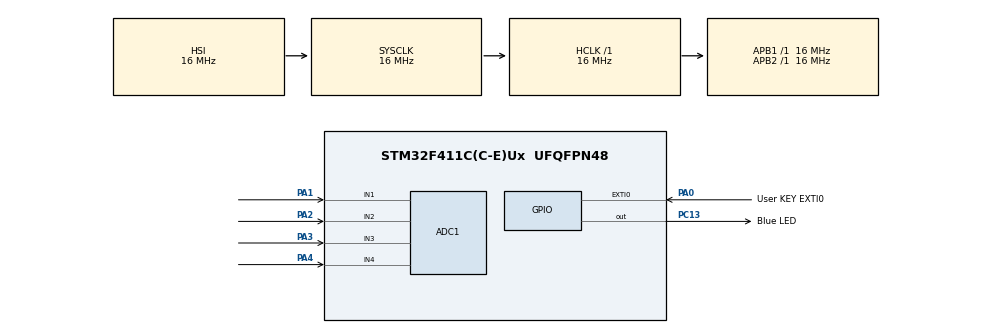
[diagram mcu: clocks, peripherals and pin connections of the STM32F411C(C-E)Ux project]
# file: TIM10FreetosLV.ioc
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ADC1.Channel-0\#ChannelRegularConversion=ADC_CHANNEL_1
ADC1.Channel-1\#ChannelRegularConversion=ADC_CHANNEL_2
ADC1.Channel-2\#ChannelRegularConversion=ADC_CHANNEL_3
ADC1.Channel-3\#ChannelRegularConversion=ADC_CHANNEL_4
ADC1.NbrOfConversion=4
ADC1.NbrOfConversionFlag=1
ADC1.Rank-0\#ChannelRegularConversion=1
ADC1.Rank-1\#ChannelRegularConversion=2
ADC1.Rank-2\#ChannelRegularConversion=3
ADC1.Rank-3\#ChannelRegularConversion=4
ADC1.SamplingTime-0\#ChannelRegularConversion=ADC_SAMPLETIME_3CYCLES
ADC1.SamplingTime-1\#ChannelRegularConversion=ADC_SAMPLETIME_3CYCLES
ADC1.SamplingTime-2\#ChannelRegularConversion=ADC_SAMPLETIME_3CYCLES
ADC1.SamplingTime-3\#ChannelRegularConversion=ADC_SAMPLETIME_3CYCLES
ADC1.ScanConvMode=ENABLE
ADC1.master=1
Dma.ADC1.0.Direction=DMA_PERIPH_TO_MEMORY
Dma.ADC1.0.FIFOMode=DMA_FIFOMODE_DISABLE
Dma.ADC1.0.Instance=DMA2_Stream0
Dma.ADC1.0.MemDataAlignment=DMA_MDATAALIGN_WORD
Dma.ADC1.0.MemInc=DMA_MINC_ENABLE
Dma.ADC1.0.Mode=DMA_CIRCULAR
Dma.ADC1.0.PeriphDataAlignment=DMA_PDATAALIGN_WORD
Dma.ADC1.0.PeriphInc=DMA_PINC_DISABLE
Dma.ADC1.0.Priority=DMA_PRIORITY_LOW
Dma.Request0=ADC1
FREERTOS.Mutexes01=SensorAMutex,Dynamic,NULL,Available;SensorBMutex,Dynamic,NULL,Available
FREERTOS.Tasks01=LEDTask,24,128,StartLEDTask,Default,NULL,Dynamic,NULL,NULL;AN1Task,24,128,StartAN1Task,Default,NULL,Dynamic,NULL,NULL;AN2Task,24,128,StartAN2Task,Default,NULL,Dynamic,NULL,NULL;AN3Task,24,128,StartAN3Task,Default,NULL,Dynamic,NULL,NULL;AN4Task,24,128,StartAN4Task,Default,NULL,Dynamic,NULL,NULL
Mcu.Family=STM32F4
Mcu.Name=STM32F411C(C-E)Ux
Mcu.Package=UFQFPN48
NVIC.ADC_IRQn=true\:5\:0\:false\:false\:true\:true\:true\:true\:true
NVIC.DMA2_Stream0_IRQn=true\:5\:0\:false\:false\:true\:true\:false\:true\:true
NVIC.EXTI0_IRQn=true\:5\:0\:false\:false\:true\:true\:true\:true\:true
NVIC.PriorityGroup=NVIC_PRIORITYGROUP_4
NVIC.TIM1_UP_TIM10_IRQn=true\:15\:0\:false\:false\:true\:false\:false\:true\:true
NVIC.TIM2_IRQn=true\:5\:0\:false\:false\:true\:true\:true\:true\:true
NVIC.TimeBase=TIM1_UP_TIM10_IRQn
NVIC.TimeBaseIP=TIM10
PA0-WKUP.GPIO_Label=User KEY EXTI0
PA0-WKUP.GPIO_ModeDefaultEXTI=GPIO_MODE_IT_FALLING
PA0-WKUP.GPIO_PuPd=GPIO_PULLUP
PA0-WKUP.Signal=GPXTI0
PA1.Signal=ADCx_IN1
PA13.Mode=Serial_Wire
PA13.Signal=SYS_JTMS-SWDIO
PA14.Mode=Serial_Wire
PA14.Signal=SYS_JTCK-SWCLK
PA2.Signal=ADCx_IN2
PA3.Signal=ADCx_IN3
PA4.Signal=ADCx_IN4
PC13-ANTI_TAMP.GPIO_Label=Blue LED
PC13-ANTI_TAMP.GPIO_ModeDefaultOutputPP=GPIO_MODE_OUTPUT_OD
PC13-ANTI_TAMP.GPIO_PuPd=GPIO_NOPULL
PC13-ANTI_TAMP.PinState=GPIO_PIN_SET
PC13-ANTI_TAMP.Signal=GPIO_Output
PH0\ -\ OSC_IN.Mode=HSE-External-Oscillator
PH0\ -\ OSC_IN.Signal=RCC_OSC_IN
PH1\ -\ OSC_OUT.Mode=HSE-External-Oscillator
PH1\ -\ OSC_OUT.Signal=RCC_OSC_OUT
ProjectManager.HeapSize=0x200
ProjectManager.StackSize=0x400
ProjectManager.TargetToolchain=CMake
RCC.AHBFreq_Value=16000000
RCC.APB1Freq_Value=16000000
RCC.APB2Freq_Value=16000000
RCC.CortexFreq_Value=16000000
RCC.HSE_VALUE=25000000
RCC.HSI_VALUE=16000000
RCC.LSE_VALUE=32768
RCC.SYSCLKFreq_VALUE=16000000
RCC.VCOOutputFreq_Value=192000000
SH.ADCx_IN1.0=ADC1_IN1,IN1
SH.ADCx_IN2.0=ADC1_IN2,IN2
SH.ADCx_IN3.0=ADC1_IN3,IN3
SH.ADCx_IN4.0=ADC1_IN4,IN4
TIM2.AutoReloadPreload=TIM_AUTORELOAD_PRELOAD_ENABLE
TIM2.Period=16000-1
VP_FREERTOS_VS_CMSIS_V2.Mode=CMSIS_V2
VP_SYS_VS_tim10.Mode=TIM10
VP_TIM2_VS_ClockSourceINT.Mode=Internal
board=custom

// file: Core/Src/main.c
/* USER CODE BEGIN Header */
/**
 ******************************************************************************
 * @file           : main.c
 * @brief          : Main program body
 ******************************************************************************
 * @attention
 *
 * Copyright (c) 2024 STMicroelectronics.
 * All rights reserved.
 *
 * This software is licensed under terms that can be found in the LICENSE file
 * in the root directory of this software component.
 * If no LICENSE file comes with this software, it is provided AS-IS.
 *
 ******************************************************************************
 */
/* USER CODE END Header */
#include "main.h"
#include "cmsis_os.h"

ADC_HandleTypeDef hadc1;
DMA_HandleTypeDef hdma_adc1;

TIM_HandleTypeDef htim2;

/* Definitions for LEDTask */
osThreadId_t LEDTaskHandle;
const osThreadAttr_t LEDTask_attributes = {
    .name = "LEDTask",
    .stack_size = 128 * 4,
    .priority = (osPriority_t)osPriorityNormal,
};
/* Definitions for AN1Task */
osThreadId_t AN1TaskHandle;
const osThreadAttr_t AN1Task_attributes = {
    .name = "AN1Task",
    .stack_size = 128 * 4,
    .priority = (osPriority_t)osPriorityNormal,
};
/* Definitions for AN2Task */
osThreadId_t AN2TaskHandle;
const osThreadAttr_t AN2Task_attributes = {
    .name = "AN2Task",
    .stack_size = 128 * 4,
    .priority = (osPriority_t)osPriorityNormal,
};
/* Definitions for AN3Task */
osThreadId_t AN3TaskHandle;
const osThreadAttr_t AN3Task_attributes = {
    .name = "AN3Task",
    .stack_size = 128 * 4,
    .priority = (osPriority_t)osPriorityNormal,
};
/* Definitions for AN4Task */
osThreadId_t AN4TaskHandle;
const osThreadAttr_t AN4Task_attributes = {
    .name = "AN4Task",
    .stack_size = 128 * 4,
    .priority = (osPriority_t)osPriorityNormal,
};
/* Definitions for SensorAMutex */
osMutexId_t SensorAMutexHandle;
const osMutexAttr_t SensorAMutex_attributes = {
    .name = "SensorAMutex"};
/* Definitions for SensorBMutex */
osMutexId_t SensorBMutexHandle;
const osMutexAttr_t SensorBMutex_attributes = {
    .name = "SensorBMutex"};
/* USER CODE BEGIN PV */
uint8_t BLUELED = 0;
uint32_t AD_RES_BUFFER[4];
uint16_t ADC1IN1, ADC1IN2;
uint16_t ADC1IN3, ADC1IN4;
int16_t DiffA, DiffB;
float voltage1, voltage2;
float voltage3, voltage4;
uint32_t sensorA, sensorB;
/* USER CODE END PV */

void SystemClock_Config(void);
static void MX_GPIO_Init(void);
static void MX_DMA_Init(void);
static void MX_ADC1_Init(void);
static void MX_TIM2_Init(void);
void StartLEDTask(void *argument);
void StartAN1Task(void *argument);
void StartAN2Task(void *argument);
void StartAN3Task(void *argument);
void StartAN4Task(void *argument);

int main(void)
{

  /* MCU Configuration--------------------------------------------------------*/

  /* Reset of all peripherals, Initializes the Flash interface and the Systick. */
  HAL_Init();

  /* Configure the system clock */
  SystemClock_Config();

  /* Initialize all configured peripherals */
  MX_GPIO_Init();
  MX_DMA_Init();
  MX_ADC1_Init();
  MX_TIM2_Init();
  /* USER CODE BEGIN 2 */
  HAL_TIM_Base_Start_IT(&htim2);
  /* USER CODE END 2 */

  /* Init scheduler */
  osKernelInitialize();
  /* Create the mutex(es) */
  /* creation of SensorAMutex */
  SensorAMutexHandle = osMutexNew(&SensorAMutex_attributes);

  /* creation of SensorBMutex */
  SensorBMutexHandle = osMutexNew(&SensorBMutex_attributes);

  /* Create the thread(s) */
  /* creation of LEDTask */
  LEDTaskHandle = osThreadNew(StartLEDTask, NULL, &LEDTask_attributes);

  /* creation of AN1Task */
  AN1TaskHandle = osThreadNew(StartAN1Task, NULL, &AN1Task_attributes);

  /* creation of AN2Task */
  AN2TaskHandle = osThreadNew(StartAN2Task, NULL, &AN2Task_attributes);

  /* creation of AN3Task */
  AN3TaskHandle = osThreadNew(StartAN3Task, NULL, &AN3Task_attributes);

  /* creation of AN4Task */
  AN4TaskHandle = osThreadNew(StartAN4Task, NULL, &AN4Task_attributes);

  /* Start scheduler */
  osKernelStart();

  /* We should never get here as control is now taken by the scheduler */

  /* Infinite loop */
  while (1)
  {

  }
}

void SystemClock_Config(void)
{
  RCC_OscInitTypeDef RCC_OscInitStruct = {0};
  RCC_ClkInitTypeDef RCC_ClkInitStruct = {0};

  /** Configure the main internal regulator output voltage
   */
  __HAL_RCC_PWR_CLK_ENABLE();
  __HAL_PWR_VOLTAGESCALING_CONFIG(PWR_REGULATOR_VOLTAGE_SCALE1);

  /** Initializes the RCC Oscillators according to the specified parameters
   * in the RCC_OscInitTypeDef structure.
   */
  RCC_OscInitStruct.OscillatorType = RCC_OSCILLATORTYPE_HSI;
  RCC_OscInitStruct.HSIState = RCC_HSI_ON;
  RCC_OscInitStruct.HSICalibrationValue = RCC_HSICALIBRATION_DEFAULT;
  RCC_OscInitStruct.PLL.PLLState = RCC_PLL_NONE;
  if (HAL_RCC_OscConfig(&RCC_OscInitStruct) != HAL_OK)
  {
    Error_Handler();
  }

  /** Initializes the CPU, AHB and APB buses clocks
   */
  RCC_ClkInitStruct.ClockType = RCC_CLOCKTYPE_HCLK | RCC_CLOCKTYPE_SYSCLK | RCC_CLOCKTYPE_PCLK1 | RCC_CLOCKTYPE_PCLK2;
  RCC_ClkInitStruct.SYSCLKSource = RCC_SYSCLKSOURCE_HSI;
  RCC_ClkInitStruct.AHBCLKDivider = RCC_SYSCLK_DIV1;
  RCC_ClkInitStruct.APB1CLKDivider = RCC_HCLK_DIV1;
  RCC_ClkInitStruct.APB2CLKDivider = RCC_HCLK_DIV1;

  if (HAL_RCC_ClockConfig(&RCC_ClkInitStruct, FLASH_LATENCY_0) != HAL_OK)
  {
    Error_Handler();
  }
}

static void MX_ADC1_Init(void)
{

  ADC_ChannelConfTypeDef sConfig = {0};

  /** Configure the global features of the ADC (Clock, Resolution, Data Alignment and number of conversion)
   */
  hadc1.Instance = ADC1;
  hadc1.Init.ClockPrescaler = ADC_CLOCK_SYNC_PCLK_DIV2;
  hadc1.Init.Resolution = ADC_RESOLUTION_12B;
  hadc1.Init.ScanConvMode = ENABLE;
  hadc1.Init.ContinuousConvMode = DISABLE;
  hadc1.Init.DiscontinuousConvMode = DISABLE;
  hadc1.Init.ExternalTrigConvEdge = ADC_EXTERNALTRIGCONVEDGE_NONE;
  hadc1.Init.ExternalTrigConv = ADC_SOFTWARE_START;
  hadc1.Init.DataAlign = ADC_DATAALIGN_RIGHT;
  hadc1.Init.NbrOfConversion = 4;
  hadc1.Init.DMAContinuousRequests = DISABLE;
  hadc1.Init.EOCSelection = ADC_EOC_SINGLE_CONV;
  if (HAL_ADC_Init(&hadc1) != HAL_OK)
  {
    Error_Handler();
  }

  /** Configure for the selected ADC regular channel its corresponding rank in the sequencer and its sample time.
   */
  sConfig.Channel = ADC_CHANNEL_1;
  sConfig.Rank = 1;
  sConfig.SamplingTime = ADC_SAMPLETIME_3CYCLES;
  if (HAL_ADC_ConfigChannel(&hadc1, &sConfig) != HAL_OK)
  {
    Error_Handler();
  }

  /** Configure for the selected ADC regular channel its corresponding rank in the sequencer and its sample time.
   */
  sConfig.Channel = ADC_CHANNEL_2;
  sConfig.Rank = 2;
  if (HAL_ADC_ConfigChannel(&hadc1, &sConfig) != HAL_OK)
  {
    Error_Handler();
  }

  /** Configure for the selected ADC regular channel its corresponding rank in the sequencer and its sample time.
   */
  sConfig.Channel = ADC_CHANNEL_3;
  sConfig.Rank = 3;
  if (HAL_ADC_ConfigChannel(&hadc1, &sConfig) != HAL_OK)
  {
    Error_Handler();
  }

  /** Configure for the selected ADC regular channel its corresponding rank in the sequencer and its sample time.
   */
  sConfig.Channel = ADC_CHANNEL_4;
  sConfig.Rank = 4;
  if (HAL_ADC_ConfigChannel(&hadc1, &sConfig) != HAL_OK)
  {
    Error_Handler();
  }
}

static void MX_TIM2_Init(void)
{

  TIM_ClockConfigTypeDef sClockSourceConfig = {0};
  TIM_MasterConfigTypeDef sMasterConfig = {0};

  htim2.Instance = TIM2;
  htim2.Init.Prescaler = 0;
  htim2.Init.CounterMode = TIM_COUNTERMODE_UP;
  htim2.Init.Period = 16000 - 1;
  htim2.Init.ClockDivision = TIM_CLOCKDIVISION_DIV1;
  htim2.Init.AutoReloadPreload = TIM_AUTORELOAD_PRELOAD_ENABLE;
  if (HAL_TIM_Base_Init(&htim2) != HAL_OK)
  {
    Error_Handler();
  }
  sClockSourceConfig.ClockSource = TIM_CLOCKSOURCE_INTERNAL;
  if (HAL_TIM_ConfigClockSource(&htim2, &sClockSourceConfig) != HAL_OK)
  {
    Error_Handler();
  }
  sMasterConfig.MasterOutputTrigger = TIM_TRGO_RESET;
  sMasterConfig.MasterSlaveMode = TIM_MASTERSLAVEMODE_DISABLE;
  if (HAL_TIMEx_MasterConfigSynchronization(&htim2, &sMasterConfig) != HAL_OK)
  {
    Error_Handler();
  }
}

static void MX_DMA_Init(void)
{

  /* DMA controller clock enable */
  __HAL_RCC_DMA2_CLK_ENABLE();

  /* DMA interrupt init */
  /* DMA2_Stream0_IRQn interrupt configuration */
  HAL_NVIC_SetPriority(DMA2_Stream0_IRQn, 5, 0);
  HAL_NVIC_EnableIRQ(DMA2_Stream0_IRQn);
}

static void MX_GPIO_Init(void)
{
  GPIO_InitTypeDef GPIO_InitStruct = {0};

  /* GPIO Ports Clock Enable */
  __HAL_RCC_GPIOC_CLK_ENABLE();
  __HAL_RCC_GPIOH_CLK_ENABLE();
  __HAL_RCC_GPIOA_CLK_ENABLE();

  /*Configure GPIO pin Output Level */
  HAL_GPIO_WritePin(Blue_LED_GPIO_Port, Blue_LED_Pin, GPIO_PIN_SET);

  /*Configure GPIO pin : Blue_LED_Pin */
  GPIO_InitStruct.Pin = Blue_LED_Pin;
  GPIO_InitStruct.Mode = GPIO_MODE_OUTPUT_OD;
  GPIO_InitStruct.Pull = GPIO_NOPULL;
  GPIO_InitStruct.Speed = GPIO_SPEED_FREQ_LOW;
  HAL_GPIO_Init(Blue_LED_GPIO_Port, &GPIO_InitStruct);

  /*Configure GPIO pin : User_KEY_EXTI0_Pin */
  GPIO_InitStruct.Pin = User_KEY_EXTI0_Pin;
  GPIO_InitStruct.Mode = GPIO_MODE_IT_FALLING;
  GPIO_InitStruct.Pull = GPIO_PULLUP;
  HAL_GPIO_Init(User_KEY_EXTI0_GPIO_Port, &GPIO_InitStruct);

}

void StartLEDTask(void *argument)
{
  /* USER CODE BEGIN 5 */
  /* Infinite loop */
  for (;;)
  {
    if (BLUELED)
      HAL_GPIO_WritePin(GPIOC, GPIO_PIN_13, GPIO_PIN_RESET); // LED ON
    else
      HAL_GPIO_WritePin(GPIOC, GPIO_PIN_13, GPIO_PIN_SET); // LED OFF

    osDelay(1);
  }
  /* USER CODE END 5 */
}

void StartAN1Task(void *argument)
{
  /* USER CODE BEGIN StartAN1Task */
  /* Infinite loop */
  for (;;)
  {
    voltage1 = (ADC1IN1 * 3.3) / 4095;
 osMutexAcquire(SensorAMutexHandle, osWaitForever); // Lock the mutex for SensorA
 DiffA = ADC1IN1 - ADC1IN2;
 sensorA = (sensorA + ADC1IN1) / 2;
 osMutexRelease(SensorAMutexHandle); // Unlock the mutex for SensorA
 osDelay(1);
  }
  /* USER CODE END StartAN1Task */
}

void StartAN2Task(void *argument)
{
  /* USER CODE BEGIN StartAN2Task */
  /* Infinite loop */
  for (;;)
  {
    voltage2 = (ADC1IN2 * 3.3) / 4095;
 osMutexAcquire(SensorAMutexHandle, osWaitForever); // Lock the mutex for SensorA
 DiffA = ADC1IN1 - ADC1IN2;
 sensorA = (sensorA + ADC1IN2)/2;
 osMutexRelease(SensorAMutexHandle); // Unlock the mutex for SensorA
 osDelay(1);

  }
  /* USER CODE END StartAN2Task */
}

void StartAN3Task(void *argument)
{
  /* USER CODE BEGIN StartAN3Task */
  /* Infinite loop */
  for (;;)
  {
    {
      voltage3 = (ADC1IN3 * 3.3) / 4095;
 osMutexAcquire(SensorBMutexHandle, osWaitForever); // Lock the mutex for SensorB
 DiffB = ADC1IN3 - ADC1IN4;
 sensorB = (sensorB + ADC1IN3)/2;
 osMutexRelease(SensorBMutexHandle); // Unlock the mutex for SensorB
 osDelay(1);
    }
    /* USER CODE END StartAN3Task */
  }
}
  void StartAN4Task(void *argument)
  {
    /* USER CODE BEGIN StartAN4Task */
    /* Infinite loop */
    for (;;)
    {
     voltage4 = (ADC1IN4 * 3.3) / 4095;
 osMutexAcquire(SensorBMutexHandle, osWaitForever); // Lock the mutex for SensorB
 DiffB = ADC1IN3 - ADC1IN4;
 sensorB = (sensorB + ADC1IN4)/2;
 osMutexRelease(SensorBMutexHandle); // Unlock the mutex for SensorB
 osDelay(1);
    }
    /* USER CODE END StartAN4Task */
  }

  /**
   * @brief  Period elapsed callback in non blocking mode
   * @note   This function is called  when TIM10 interrupt took place, inside
   * HAL_TIM_IRQHandler(). It makes a direct call to HAL_IncTick() to increment
   * a global variable "uwTick" used as application time base.
   * @param  htim : TIM handle
   * @retval None
   */
  void HAL_TIM_PeriodElapsedCallback(TIM_HandleTypeDef * htim)
  {
    if (htim->Instance == TIM10)
    {
      HAL_IncTick();
    }
  }

  /**
   * @brief  This function is executed in case of error occurrence.
   * @retval None
   */
  void Error_Handler(void)
  {
    __disable_irq();
    while (1)
    {
    }
  }
